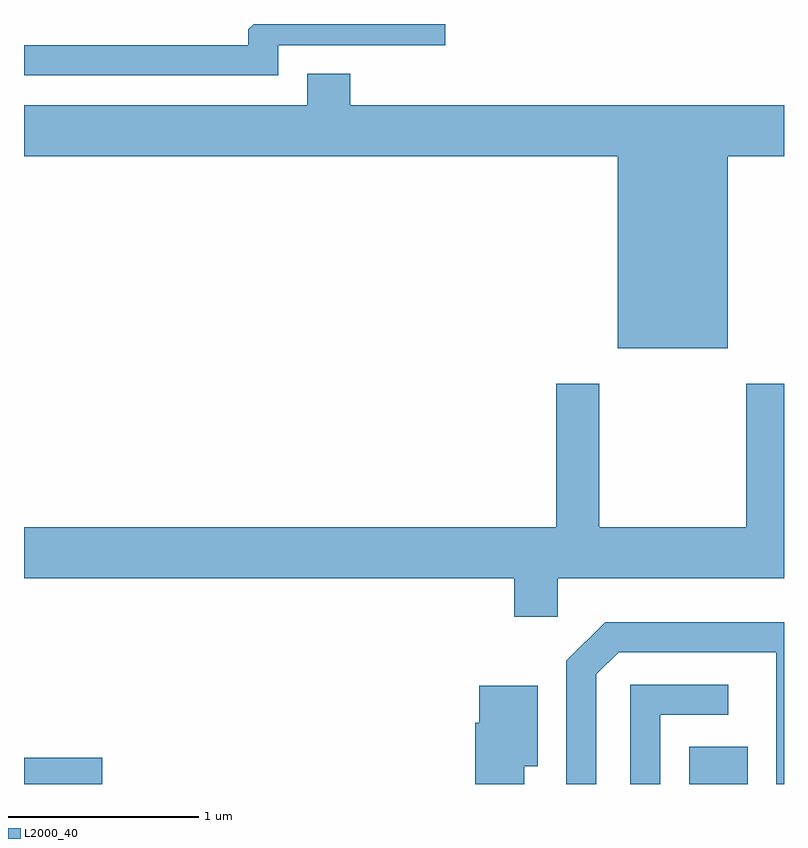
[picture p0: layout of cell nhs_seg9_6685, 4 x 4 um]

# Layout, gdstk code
import gdstk
lib = gdstk.Library(unit=1e-6, precision=1e-09)
def R(c, l, rs):  # rectangles x0, y0, x1, y1
    for r in rs: c.add(gdstk.rectangle(r[:2], r[2:], *l))
def P(c, l, *ps):  # polygons
    for p in ps: c.add(gdstk.Polygon(p, *l))
L2000_40 = (2000, 40)

nhs_seg9_6685 = lib.new_cell('nhs_seg9_6685')
R(nhs_seg9_6685, L2000_40, [(381.611,2068.432,382.024,2068.569), (385.111,2068.432,385.419,2068.629)])
P(nhs_seg9_6685, L2000_40, [(382.949,2072.321),(383.828,2072.321),(383.828,2072.432),(382.819,2072.432),(382.791,2072.404),(382.791,2072.319),(381.611,2072.319),(381.611,2072.161),(382.949,2072.161)],
  [(385.314,2071.736),(385.611,2071.736),(385.611,2072.004),(383.329,2072.004),(383.329,2072.169),(383.101,2072.169),(383.101,2072.004),(381.611,2072.004),(381.611,2071.736),(384.736,2071.736),(384.736,2070.726),(385.314,2070.726)],
  [(384.419,2069.516),(385.611,2069.516),(385.611,2070.539),(385.411,2070.539),(385.411,2069.784),(384.639,2069.784),(384.639,2070.539),(384.411,2070.539),(384.411,2069.784),(381.611,2069.784),(381.611,2069.516),(384.191,2069.516),(384.191,2069.311),(384.419,2069.311)],
  [(384.624,2069.009),(384.742,2069.126),(385.571,2069.126),(385.571,2068.432),(385.611,2068.432),(385.611,2069.284),(384.669,2069.284),(384.466,2069.082),(384.466,2068.432),(384.624,2068.432)],
  [(384.959,2068.796),(385.318,2068.796),(385.318,2068.954),(384.801,2068.954),(384.801,2068.432),(384.959,2068.432)],
  [(384.244,2068.526),(384.314,2068.526),(384.314,2068.949),(384.006,2068.949),(384.006,2068.754),(383.986,2068.754),(383.986,2068.432),(384.244,2068.432)])

lib.write_gds('nhs_seg9_6685.gds')
